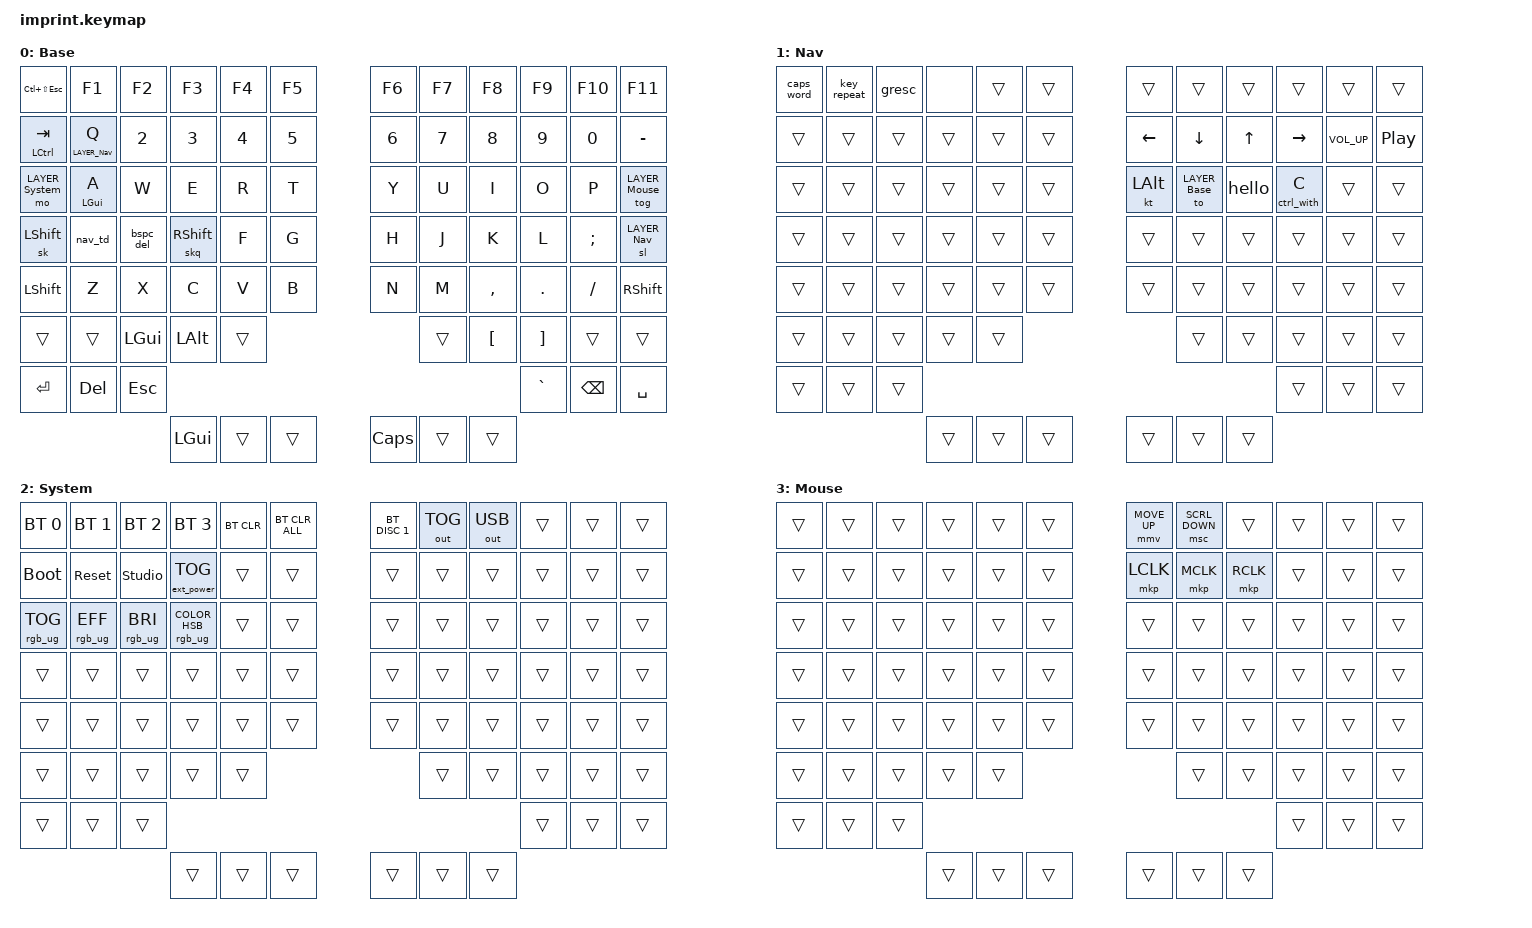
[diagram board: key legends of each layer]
/* Generated by Keyboard Curator. Change the board or the layout there, not this file. */

#include <behaviors.dtsi>
#include <dt-bindings/zmk/keys.h>
#include <dt-bindings/zmk/bt.h>
#include <dt-bindings/zmk/outputs.h>
#include <dt-bindings/zmk/rgb.h>
#include <dt-bindings/zmk/ext_power.h>
#include <dt-bindings/zmk/pointing.h>
#include <input/processors.dtsi>
#include <dt-bindings/zmk/input_transform.h>
#include <zephyr/dt-bindings/input/input-event-codes.h>

#define LAYER_Base 0
#define LAYER_Nav 1
#define LAYER_System 2
#define LAYER_Mouse 3

/ {
    chosen {
        zmk,physical-layout = &physical_layout_imprint_function_row_full_bottom_row;
    };

    input_processors {
        zip_click_to_right_click_mapper: zip_click_to_right_click_mapper {
            compatible = "zmk,input-processor-code-mapper";
            #input-processor-cells = <0>;
            type = <INPUT_EV_KEY>;
            map = <INPUT_BTN_0 INPUT_BTN_1>;
        };
    };

    behaviors {
        // Template: Home-row mod
        hml: hml {
            compatible = "zmk,behavior-hold-tap";
            #binding-cells = <2>;
            flavor = "balanced";
            tapping-term-ms = <280>;
            quick-tap-ms = <175>;
            require-prior-idle-ms = <150>;
            hold-trigger-key-positions = <6 7 8 9 10 11>;
            hold-trigger-on-release;
            bindings = <&kp>, <&kp>;
        };
        // Template: Nav tap-dance
        nav_td: nav_td {
            compatible = "zmk,behavior-tap-dance";
            #binding-cells = <0>;
            tapping-term-ms = <200>;
            bindings = <&mo LAYER_Nav>, <&to LAYER_Nav>;
        };
        // Template: Backspace or Delete
        bspc_del: bspc_del {
            compatible = "zmk,behavior-mod-morph";
            #binding-cells = <0>;
            bindings = <&kp BSPC>, <&kp DEL>;
            mods = <(MOD_LSFT|MOD_RSFT)>;
        };
        // Template: Quick sticky key
        skq: skq {
            compatible = "zmk,behavior-sticky-key";
            #binding-cells = <1>;
            bindings = <&kp>;
            release-after-ms = <800>;
            quick-release;
            ignore-modifiers;
        };
    };

    macros {
        // Template: Type Hi
        hello: hello {
            compatible = "zmk,behavior-macro";
            #binding-cells = <0>;
            wait-ms = <30>;
            tap-ms = <30>;
            bindings
                = <&macro_press &kp LSHFT>
                , <&macro_tap &kp H>
                , <&macro_release &kp LSHFT>
                , <&macro_wait_time 50>
                , <&macro_tap &kp I>
                , <&macro_pause_for_release>
                , <&macro_tap &kp EXCL>
                ;
        };
        // Template: Ctrl with a key
        ctrl_with: ctrl_with {
            compatible = "zmk,behavior-macro-one-param";
            #binding-cells = <1>;
            bindings
                = <&macro_press &kp LCTRL>
                , <&macro_param_1to1>
                , <&macro_tap &kp MACRO_PLACEHOLDER>
                , <&macro_release &kp LCTRL>
                ;
        };
    };

    combos {
        compatible = "zmk,combos";
        combo_caps_word_11 {
            timeout-ms = <40>;
            key-positions = <40 43>;
            bindings = <&caps_word>;
            layers = <LAYER_Base LAYER_Nav>;
            require-prior-idle-ms = <100>;
            slow-release;
        };
        combo_escape_12 {
            key-positions = <13 14>;
            bindings = <&kp ESC>;
        };
    };

    conditional_layers {
        compatible = "zmk,conditional-layers";
        rule_0 {
            if-layers = <LAYER_Nav LAYER_Mouse>;
            then-layer = <LAYER_System>;
        };
    };

    keymap {
        compatible = "zmk,keymap";

        layer_0_Base {
            display-name = "Base";
            bindings = <
                &kp LC(LS(ESC))   &kp F1           &kp F2     &kp F3      &kp F4  &kp F5                                         &kp F6    &kp F7     &kp F8     &kp F9    &kp F10   &kp F11
                &mt LCTRL TAB     &lt LAYER_Nav Q  &kp N2     &kp N3      &kp N4  &kp N5                                         &kp N6    &kp N7     &kp N8     &kp N9    &kp N0    &kp MINUS
                &mo LAYER_System  &hml LGUI A      &kp W      &kp E       &kp R   &kp T                                          &kp Y     &kp U      &kp I      &kp O     &kp P     &tog LAYER_Mouse
                &sk LSHFT         &nav_td          &bspc_del  &skq RSHFT  &kp F   &kp G                                          &kp H     &kp J      &kp K      &kp L     &kp SEMI  &sl LAYER_Nav
                &kp LSHFT         &kp Z            &kp X      &kp C       &kp V   &kp B                                          &kp N     &kp M      &kp COMMA  &kp DOT   &kp FSLH  &kp RSHFT
                &trans            &trans           &kp LGUI   &kp LALT    &trans                                                           &trans     &kp LBKT   &kp RBKT  &trans    &trans
                                                                                          &kp RET   &kp DEL  &kp ESC  &kp GRAVE  &kp BSPC  &kp SPACE
                                                                                          &kp LGUI  &trans   &trans   &kp CAPS   &trans    &trans
            >;
        };

        layer_1_Nav {
            display-name = "Nav";
            bindings = <
                &caps_word  &key_repeat  &gresc  &none   &trans  &trans                                  &trans    &trans          &trans  &trans        &trans        &trans
                &trans      &trans       &trans  &trans  &trans  &trans                                  &kp LEFT  &kp DOWN        &kp UP  &kp RIGHT     &kp C_VOL_UP  &kp C_PP
                &trans      &trans       &trans  &trans  &trans  &trans                                  &kt LALT  &to LAYER_Base  &hello  &ctrl_with C  &trans        &trans
                &trans      &trans       &trans  &trans  &trans  &trans                                  &trans    &trans          &trans  &trans        &trans        &trans
                &trans      &trans       &trans  &trans  &trans  &trans                                  &trans    &trans          &trans  &trans        &trans        &trans
                &trans      &trans       &trans  &trans  &trans                                                    &trans          &trans  &trans        &trans        &trans
                                                                         &trans  &trans  &trans  &trans  &trans    &trans
                                                                         &trans  &trans  &trans  &trans  &trans    &trans
            >;
        };

        layer_2_System {
            display-name = "System";
            bindings = <
                &bt BT_SEL 0     &bt BT_SEL 1     &bt BT_SEL 2     &bt BT_SEL 3                       &bt BT_CLR  &bt BT_CLR_ALL                                  &bt BT_DISC 1  &out OUT_TOG  &out OUT_USB  &trans  &trans  &trans
                &bootloader      &sys_reset       &studio_unlock   &ext_power EP_TOG                  &trans      &trans                                          &trans         &trans        &trans        &trans  &trans  &trans
                &rgb_ug RGB_TOG  &rgb_ug RGB_EFF  &rgb_ug RGB_BRI  &rgb_ug RGB_COLOR_HSB(120,100,30)  &trans      &trans                                          &trans         &trans        &trans        &trans  &trans  &trans
                &trans           &trans           &trans           &trans                             &trans      &trans                                          &trans         &trans        &trans        &trans  &trans  &trans
                &trans           &trans           &trans           &trans                             &trans      &trans                                          &trans         &trans        &trans        &trans  &trans  &trans
                &trans           &trans           &trans           &trans                             &trans                                                                     &trans        &trans        &trans  &trans  &trans
                                                                                                                                  &trans  &trans  &trans  &trans  &trans         &trans
                                                                                                                                  &trans  &trans  &trans  &trans  &trans         &trans
            >;
        };

        layer_3_Mouse {
            display-name = "Mouse";
            bindings = <
                &trans  &trans  &trans  &trans  &trans  &trans                                  &mmv MOVE_UP  &msc SCRL_DOWN  &trans     &trans  &trans  &trans
                &trans  &trans  &trans  &trans  &trans  &trans                                  &mkp LCLK     &mkp MCLK       &mkp RCLK  &trans  &trans  &trans
                &trans  &trans  &trans  &trans  &trans  &trans                                  &trans        &trans          &trans     &trans  &trans  &trans
                &trans  &trans  &trans  &trans  &trans  &trans                                  &trans        &trans          &trans     &trans  &trans  &trans
                &trans  &trans  &trans  &trans  &trans  &trans                                  &trans        &trans          &trans     &trans  &trans  &trans
                &trans  &trans  &trans  &trans  &trans                                                        &trans          &trans     &trans  &trans  &trans
                                                                &trans  &trans  &trans  &trans  &trans        &trans
                                                                &trans  &trans  &trans  &trans  &trans        &trans
            >;
        };

        reserved_0 {
            status = "reserved";
        };

        reserved_1 {
            status = "reserved";
        };

        reserved_2 {
            status = "reserved";
        };

        reserved_3 {
            status = "reserved";
        };
    };
};

&trackball_central_listener {
    input-processors = <&zip_xy_scaler 1 3>, <&zip_xy_to_scroll_mapper>, <&zip_scroll_transform (INPUT_TRANSFORM_Y_INVERT)>;
    override_0 {
        layers = <LAYER_Nav>;
        input-processors = <&zip_xy_scaler 2 1>;
    };
};

&trackball_peripheral_listener {
    input-processors = <&zip_click_to_right_click_mapper>, <&zip_temp_layer LAYER_Mouse 500>;
};

&mmv_input_listener {
    override_0 {
        layers = <LAYER_Nav>;
        input-processors = <&zip_xy_scaler 1 4>;
    };
};

&msc_input_listener {
    input-processors = <&zip_scroll_scaler 3 2>;
};
